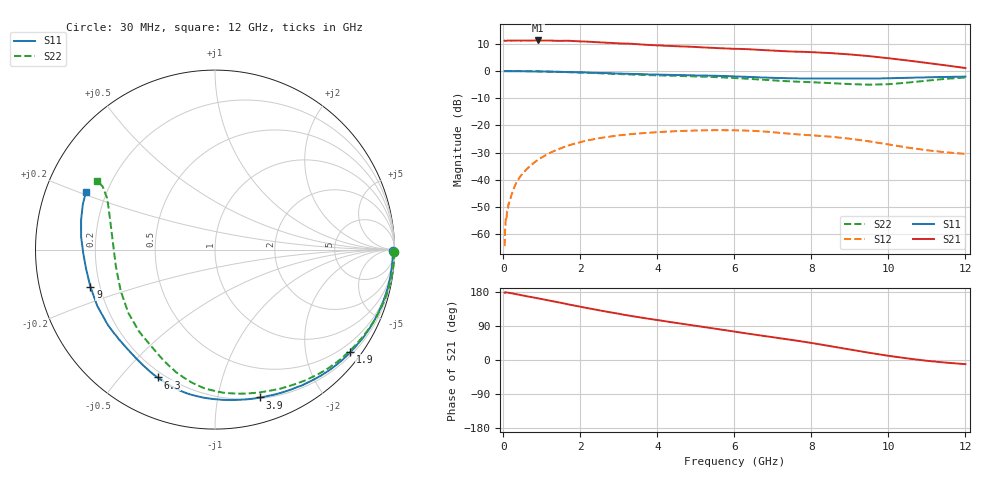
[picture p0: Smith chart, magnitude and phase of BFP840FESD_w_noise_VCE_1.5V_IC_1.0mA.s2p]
! Infineon Technologies  Discrete & RF Semiconductors
! BFP840FESD
! VCE =  1.5 V,  IC =  1.0 mA
! Common Emitter S-Parameters:  May 2012
# GHz  S  MA  R  50
!  f  S11  S21  S12  S22
! GHz  MAG  ANG  MAG  ANG  MAG  ANG  MAG  ANG
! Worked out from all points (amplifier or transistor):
!   103 points, 30 MHz to 12 GHz, reference 50 ohm
!   highest |S21| = 11.2 dB at 900 MHz (marker M1)
!   |S21| within 3 dB of that: start of sweep to 5.868 GHz
!   unconditionally stable (mu >= 1): 8.717 GHz to end of sweep
!   at 400 MHz: K = 0.00, MSG = 25.4 dB, |S12| = -39.6 dB
!   at 3.7 GHz: K = 0.18, MSG = 16.2 dB, |S12| = -22.8 dB
!   at 12 GHz: K = 1.95, MAG = 10.2 dB, |S12| = -30.5 dB
!   lowest NFmin = 0.57 dB at 450 MHz
!   S11 on the Smith chart (normalised r, x): 30 MHz: open; 1.9 GHz: 0.27, -2.96; 3.9 GHz: 0.21, -1.33; 6.3 GHz: 0.17, -0.63; 9 GHz: 0.16, -0.14; 12 GHz: 0.12, +0.21
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0.03  0.9907 -0.6  3.606 177.6  0.0006 98.3  0.9994 -0.7
0.04  0.9907 -0.7  3.581 177.4  0.0011 88.9  0.9997 -0.8
0.06  0.9916 -1.2  3.577 178.7  0.0019 96.9  0.9996 -1.1
0.08  0.9907 -1.6  3.6 178.3  0.0018 93.0  0.9997 -1.5
0.09  0.9901 -1.7  3.608 178.1  0.0026 91.3  0.9995 -1.6
0.13  0.9909 -2.5  3.626 177.5  0.0036 88.8  0.9991 -2.4
0.25  0.9906 -4.9  3.619 175.3  0.0064 86.2  0.999 -4.6
0.45  0.9884 -8.8  3.605 171.3  0.0118 82.1  0.9958 -8.4
0.9  0.9805 -17.5  3.642 162.7  0.0234 75.2  0.985 -16.9
1.6  0.9589 -31.3  3.599 148.7  0.0405 62.8  0.956 -30.5
1.9  0.9458 -37.1  3.529 142.6  0.047 57.4  0.94 -36.5
2.1  0.9385 -40.9  3.488 138.6  0.0512 53.8  0.9301 -40.5
3.1  0.8925 -59.1  3.211 119.9  0.0666 37.3  0.8732 -59.0
3.9  0.861 -73.1  2.985 106.9  0.0741 26.2  0.8351 -72.1
4.1  0.8555 -76.6  2.934 103.9  0.0756 23.8  0.8273 -75.0
4.9  0.8324 -90.8  2.787 91.8  0.08 13.7  0.7987 -86.6
6.1  0.79 -110.7  2.553 73.4  0.0807 -1.2  0.7358 -103.3
6.3  0.7807 -114.2  2.522 70.4  0.0801 -3.7  0.7221 -106.2
8.5  0.7272 -154.4  2.133 36.4  0.0619 -21.6  0.5981 -143.8
9  0.7244 -163.4  2.015 27.7  0.0568 -24.8  0.5739 -156.2
10.5  0.7492 174.6  1.56 4.1  0.039 -24.3  0.6114 163.3
12  0.7879 155.8  1.133 -11.0  0.0299 -4.1  0.7569 149.9
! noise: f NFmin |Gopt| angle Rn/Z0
0.45  0.57  0.78  7  0.51
0.9  0.66  0.77  14  0.5
1.5  0.78  0.72  22  0.45
1.9  0.84  0.68  29  0.43
2.4  0.91  0.66  37  0.43
3.5  0.99  0.63  56  0.39
5.5  1.2  0.52  89  0.28
8  1.7  0.46  149  0.18
10  1.98  0.47  -173  0.14
12  2.15  0.62  -141  0.18
